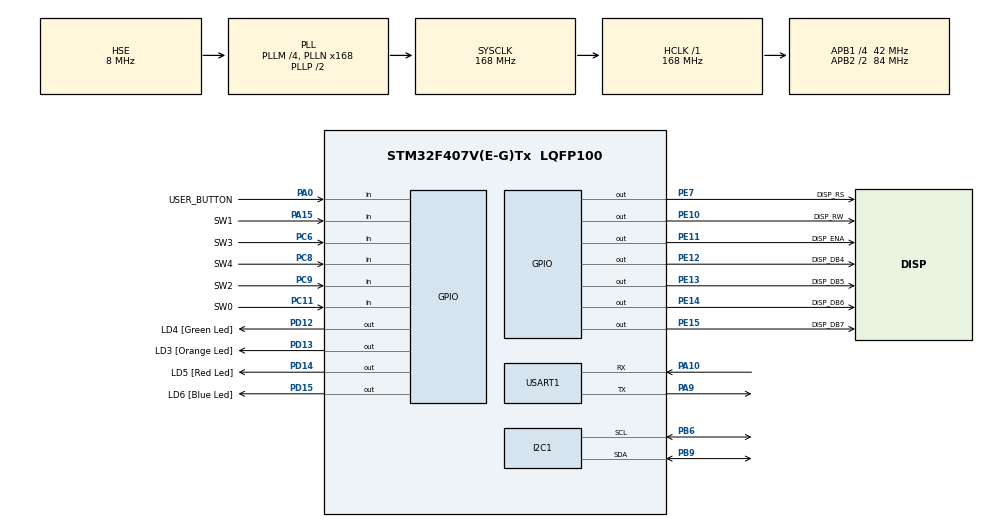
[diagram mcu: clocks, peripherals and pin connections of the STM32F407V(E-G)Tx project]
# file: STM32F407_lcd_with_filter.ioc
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Mcu.Family=STM32F4
Mcu.Name=STM32F407V(E-G)Tx
Mcu.Package=LQFP100
NVIC.PriorityGroup=NVIC_PRIORITYGROUP_0
PA0-WKUP.GPIO_Label=USER_BUTTON
PA0-WKUP.Signal=GPIO_Input
PA10.Mode=Asynchronous
PA10.Signal=USART1_RX
PA15.GPIO_Label=SW1
PA15.Signal=GPIO_Input
PA9.Mode=Asynchronous
PA9.Signal=USART1_TX
PB6.Mode=I2C
PB6.Signal=I2C1_SCL
PB9.Mode=I2C
PB9.Signal=I2C1_SDA
PC11.GPIO_Label=SW0
PC11.Signal=GPIO_Input
PC6.GPIO_Label=SW3
PC6.Signal=GPIO_Input
PC8.GPIO_Label=SW4
PC8.Signal=GPIO_Input
PC9.GPIO_Label=SW2
PC9.Signal=GPIO_Input
PD12.GPIO_Label=LD4 [Green Led]
PD12.GPIO_PuPd=GPIO_NOPULL
PD12.GPIO_Speed=GPIO_SPEED_FREQ_LOW
PD12.Signal=GPIO_Output
PD13.GPIO_Label=LD3 [Orange Led]
PD13.GPIO_PuPd=GPIO_NOPULL
PD13.GPIO_Speed=GPIO_SPEED_FREQ_LOW
PD13.Signal=GPIO_Output
PD14.GPIO_Label=LD5 [Red Led]
PD14.GPIO_PuPd=GPIO_NOPULL
PD14.GPIO_Speed=GPIO_SPEED_FREQ_LOW
PD14.Signal=GPIO_Output
PD15.GPIO_Label=LD6 [Blue Led]
PD15.GPIO_PuPd=GPIO_NOPULL
PD15.GPIO_Speed=GPIO_SPEED_FREQ_LOW
PD15.Signal=GPIO_Output
PE10.GPIO_Label=DISP_RW
PE10.Signal=GPIO_Output
PE11.GPIO_Label=DISP_ENA
PE11.Signal=GPIO_Output
PE12.GPIO_Label=DISP_DB4
PE12.Signal=GPIO_Output
PE13.GPIO_Label=DISP_DB5
PE13.Signal=GPIO_Output
PE14.GPIO_Label=DISP_DB6
PE14.Signal=GPIO_Output
PE15.GPIO_Label=DISP_DB7
PE15.Signal=GPIO_Output
PE7.GPIO_Label=DISP_RS
PE7.Signal=GPIO_Output
PH0-OSC_IN.GPIO_Label=PH0-OSC_IN
PH0-OSC_IN.Mode=HSE-External-Oscillator
PH0-OSC_IN.Signal=RCC_OSC_IN
PH1-OSC_OUT.GPIO_Label=PH1-OSC_OUT
PH1-OSC_OUT.Mode=HSE-External-Oscillator
PH1-OSC_OUT.Signal=RCC_OSC_OUT
ProjectManager.HeapSize=0x200
ProjectManager.StackSize=0x400
ProjectManager.TargetToolchain=STM32CubeIDE
RCC.48MHZClocksFreq_Value=48000000
RCC.AHBFreq_Value=168000000
RCC.APB1CLKDivider=RCC_HCLK_DIV4
RCC.APB1Freq_Value=42000000
RCC.APB1TimFreq_Value=84000000
RCC.APB2CLKDivider=RCC_HCLK_DIV2
RCC.APB2Freq_Value=84000000
RCC.APB2TimFreq_Value=168000000
RCC.CortexFreq_Value=168000000
RCC.HCLKFreq_Value=168000000
RCC.HSE_VALUE=8000000
RCC.HSI_VALUE=16000000
RCC.LSE_VALUE=32768
RCC.PLLM=4
RCC.PLLN=168
RCC.PLLQ=7
RCC.PLLSourceVirtual=RCC_PLLSOURCE_HSE
RCC.SYSCLKFreq_VALUE=168000000
RCC.SYSCLKSource=RCC_SYSCLKSOURCE_PLLCLK
RCC.VCOOutputFreq_Value=336000000
TIM2.Prescaler=83
USART1.VirtualMode=VM_ASYNC
VP_TIM2_VS_ClockSourceINT.Mode=Internal
board=STM32F407G-DISC1

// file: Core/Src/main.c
/* USER CODE BEGIN Header */
/**
 ******************************************************************************
 * @file           : main.c
 * @brief          : Main program body
 ******************************************************************************
 * @attention
 *
 * Copyright (c) 2024 STMicroelectronics.
 * All rights reserved.
 *
 * This software is licensed under terms that can be found in the LICENSE file
 * in the root directory of this software component.
 * If no LICENSE file comes with this software, it is provided AS-IS.
 *
 ******************************************************************************
 */
/* USER CODE END Header */
#include "main.h"
#include "i2c.h"
#include "tim.h"
#include "usart.h"
#include "gpio.h"

/* USER CODE BEGIN Includes */
#include <stdio.h>
#include <stdlib.h>
#include "evTim.h"
#include "lcd.h"
#include "imu_lib.h"
#include "buttons.h"
/* USER CODE END Includes */

/* USER CODE BEGIN PV */
static evTim_data_t EvTim_myTimer1; /** event timer */
static evTim_data_t EvTim_myTimer2; /** event timer */

static char txt_buffer[BUFF_SIZE]; /** text buffer for printing on LCD */
static mems_t *mems; /** mems_t struct pointer, it allows access to sensors data  */

/** mems_display_info_t struct pointer, it allows to access sensors naming and conversion info  */
static mems_display_info_t *mems_display_info;

/** yaw_angle stores information about current board angle  */
static float yaw_angle = 0;

/** mems_info stores information about currently used display mode  */
static display_info mems_info = { 0, 0, false,false };
/** mems_max_values stores information about largest observed sensor's values */
static mems_data_t mems_max_values = {0.0f, 0.0f, 0.0f};

/* USER CODE END PV */

void SystemClock_Config(void);

int main(void)
{

  /* MCU Configuration--------------------------------------------------------*/

  /* Reset of all peripherals, Initializes the Flash interface and the Systick. */
  HAL_Init();

  /* Configure the system clock */
  SystemClock_Config();

  /* Initialize all configured peripherals */
  MX_GPIO_Init();
  MX_TIM2_Init();
  MX_I2C1_Init();
  MX_USART1_UART_Init();
  /* USER CODE BEGIN 2 */
  HAL_TIM_Base_Start(&htim2); /** Starts the TIM Base generation on second timer */
  lis9ds1_fast_init(); /** prepare LIS9DS1 with simplest settings for continuous data obtaining */
  calibrate_gyroscope();
  lcd_clear(); /** clear LCD if program was previously interrupted */
  memset(txt_buffer, 0x00, BUFF_SIZE * sizeof(char)); /** set clear char buffer */
  HAL_GPIO_WritePin(LD3_GPIO_Port, LD3_Pin, SET);

  /* USER CODE END 2 */

  /* Infinite loop */
  /* USER CODE BEGIN WHILE */
  while (1)
  {
    lcd_execute_handler(); /* */
    check_buttons(&mems_info, &yaw_angle, &mems_max_values); /** check if SWT3, SWT4 or SWT1 was pushed and set index for printing sensor details */

    //  Read and store sensors data
    if(EvTim_IsReady(&EvTim_myTimer1) != EVTIM_IN_PROGRESS) /** checks the ST timer1 if it reached time event */
    {
      EvTim_ActivateMs(&EvTim_myTimer1, 20); /** generation of time event every 40 miliseconds */
      HAL_GPIO_WritePin(LD5_GPIO_Port, LD5_Pin, SET); /** turn on green LED */
      lis9ds1_read_data(); /** read data from mems */

      mems = get_mems_t_struct(); /** returns struct address where sensors data is stored*/
      mems_display_info = get_mems_info_struct();
      // Calculate current angle if flag is true
      if(mems_info.show_angle){
        calculate_yaw_angle(0.02);
      }
      else if(mems_info.show_max_values){
        monitor_max_values();
      }

      HAL_GPIO_WritePin(LD5_GPIO_Port, LD5_Pin, RESET); /** turn off green LED */
    }

    //  Display sensors data on the LCD
    if(EvTim_IsReady(&EvTim_myTimer2) != EVTIM_IN_PROGRESS) /** checks the ST timer2 if it reached time event */
    {
      EvTim_ActivateMs(&EvTim_myTimer2, 250);
      if(mems_info.show_angle){
        display_yaw_angle();
      }
      else if(mems_info.show_max_values){
        display_sensor_data(&mems_max_values);
      }
      else{
        display_sensor_data(&mems[mems_info.selected_mems].filtered_data);
      }
    }

    /* USER CODE END WHILE */

  }
}

void SystemClock_Config(void)
{
  RCC_OscInitTypeDef RCC_OscInitStruct = {0};
  RCC_ClkInitTypeDef RCC_ClkInitStruct = {0};

  /** Configure the main internal regulator output voltage
  */
  __HAL_RCC_PWR_CLK_ENABLE();
  __HAL_PWR_VOLTAGESCALING_CONFIG(PWR_REGULATOR_VOLTAGE_SCALE1);

  /** Initializes the RCC Oscillators according to the specified parameters
  * in the RCC_OscInitTypeDef structure.
  */
  RCC_OscInitStruct.OscillatorType = RCC_OSCILLATORTYPE_HSE;
  RCC_OscInitStruct.HSEState = RCC_HSE_ON;
  RCC_OscInitStruct.PLL.PLLState = RCC_PLL_ON;
  RCC_OscInitStruct.PLL.PLLSource = RCC_PLLSOURCE_HSE;
  RCC_OscInitStruct.PLL.PLLM = 4;
  RCC_OscInitStruct.PLL.PLLN = 168;
  RCC_OscInitStruct.PLL.PLLP = RCC_PLLP_DIV2;
  RCC_OscInitStruct.PLL.PLLQ = 7;
  if (HAL_RCC_OscConfig(&RCC_OscInitStruct) != HAL_OK)
  {
    Error_Handler();
  }

  /** Initializes the CPU, AHB and APB buses clocks
  */
  RCC_ClkInitStruct.ClockType = RCC_CLOCKTYPE_HCLK|RCC_CLOCKTYPE_SYSCLK
                              |RCC_CLOCKTYPE_PCLK1|RCC_CLOCKTYPE_PCLK2;
  RCC_ClkInitStruct.SYSCLKSource = RCC_SYSCLKSOURCE_PLLCLK;
  RCC_ClkInitStruct.AHBCLKDivider = RCC_SYSCLK_DIV1;
  RCC_ClkInitStruct.APB1CLKDivider = RCC_HCLK_DIV4;
  RCC_ClkInitStruct.APB2CLKDivider = RCC_HCLK_DIV2;

  if (HAL_RCC_ClockConfig(&RCC_ClkInitStruct, FLASH_LATENCY_5) != HAL_OK)
  {
    Error_Handler();
  }
}

/* USER CODE BEGIN 4 */

void calculate_yaw_angle(float dt) {
  // Read last gyro output from z axis and check if it's not a noise
  if((mems[1].buffer_data[mems[1].buffer_head].z <= -40) || (mems[1].buffer_data[mems[1].buffer_head].z >= 40)){
    yaw_angle += (mems[1].buffer_data[0].z) * dt;
  }
  // If angle reach 360 degrees set angle to zero
  if((int16_t) abs(yaw_angle * GYR_FACTOR) >= 360){
    yaw_angle = 0;
  }
}

void monitor_max_values(void){
  if(abs(mems[mems_info.selected_mems].filtered_data.x) > abs(mems_max_values.x)){
    mems_max_values.x = mems[mems_info.selected_mems].filtered_data.x;
  }
  if(abs(mems[mems_info.selected_mems].filtered_data.y) > abs(mems_max_values.y)){
    mems_max_values.y = mems[mems_info.selected_mems].filtered_data.y;
  }
  if(abs(mems[mems_info.selected_mems].filtered_data.z) > abs(mems_max_values.z)){
    mems_max_values.z = mems[mems_info.selected_mems].filtered_data.z;
  }
}

void display_sensor_data(mems_data_t *mems_values){
  lcd_clear(); /** clear output for LCD (2x16) */
  /** write text and values into char buffer */
  snprintf(
      txt_buffer,
      BUFF_SIZE,
      (mems_info.display_mode == 0) ? "%d%s %s %1.1f" : "%d%s %s %1.2f",
          mems_info.display_mode + 1,
          mems_display_info[mems_info.selected_mems].name,
          mems_display_info[mems_info.selected_mems].data_labels,
         mems_values->x * mems_display_info[mems_info.selected_mems].convert_factors[mems_info.display_mode]
  );
  lcd_string(0, 0, txt_buffer); /** print contents of text buffer into LCD */
  /** write text and values into char buffer */
  snprintf(
      txt_buffer,
      BUFF_SIZE,
      (mems_info.display_mode == 0) ? "%1.1f %1.1f" : "%1.2f %1.2f",
          mems_values->y * mems_display_info[mems_info.selected_mems].convert_factors[mems_info.display_mode],
          mems_values->z * mems_display_info[mems_info.selected_mems].convert_factors[mems_info.display_mode]
  );
  lcd_string(1, 0, txt_buffer); /** print contents of text buffer into LCD */
}

void display_yaw_angle(void){
  lcd_clear(); /** clear output for LCD (2x16) */
  /** write text and values into char buffer */
  snprintf(
      txt_buffer,
      BUFF_SIZE,
      "Angle: %1.1f",
      (float_t) yaw_angle * GYR_FACTOR
  );
  lcd_string(0, 0, txt_buffer); /** print contents of text buffer into LCD */

//  snprintf(
//      txt_buffer,
//      BUFF_SIZE,
//      "Compass: %1.1f",
//      (float_t) calculateAzimuth(&mems[2].buffer_data[mems[2].buffer_head].x, &mems[2].buffer_data[mems[2].buffer_head].y)
//  );
//  lcd_string(1, 0, txt_buffer); /** print contents of text buffer into LCD */
}

// Funkcja obliczająca kąt azymutu
float calculateAzimuth(int16_t *mx, int16_t *my) {
    float azimuth = atan2((float)*mx, (float)*my) * 180 / M_PI;
    if (azimuth < 0) {
        azimuth += 360;
    }
    return azimuth;
}

/* USER CODE END 4 */

void Error_Handler(void)
{
  /* USER CODE BEGIN Error_Handler_Debug */
  /* User can add his own implementation to report the HAL error return state */
  __disable_irq();
  while (1)
  {
    HAL_GPIO_WritePin(LD5_GPIO_Port, LD5_Pin, GPIO_PIN_SET); /** flashing LED 5 */
  }
  /* USER CODE END Error_Handler_Debug */
}
